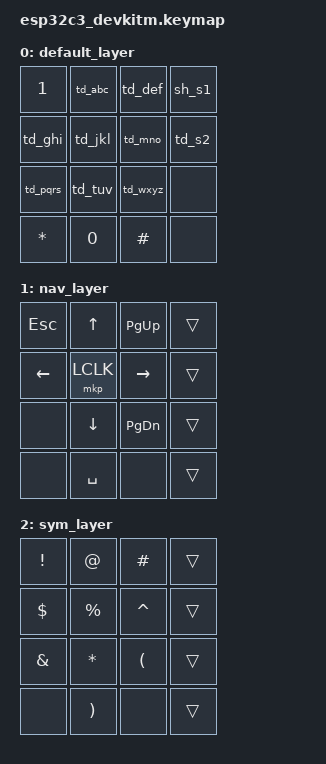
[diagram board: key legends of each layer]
#include <behaviors.dtsi>
#include <dt-bindings/zmk/keys.h>
#include <dt-bindings/zmk/bt.h>
#include <dt-bindings/zmk/mouse.h>

/ {
    // Definisi Matrix untuk ESP32-C3 SuperMini (Row: 0,1,2,3 | Col: 4,5,6,7)
    kscan0: kscan_0 {
        compatible = "zmk,kscan-gpio-matrix";
        diode-direction = "col2row";
        row-gpios = <&gpio0 0 (GPIO_ACTIVE_HIGH | GPIO_PULL_DOWN)>,
                    <&gpio0 1 (GPIO_ACTIVE_HIGH | GPIO_PULL_DOWN)>,
                    <&gpio0 2 (GPIO_ACTIVE_HIGH | GPIO_PULL_DOWN)>,
                    <&gpio0 3 (GPIO_ACTIVE_HIGH | GPIO_PULL_DOWN)>;
        col-gpios = <&gpio0 4 GPIO_ACTIVE_HIGH>,
                    <&gpio0 5 GPIO_ACTIVE_HIGH>,
                    <&gpio0 6 GPIO_ACTIVE_HIGH>,
                    <&gpio0 7 GPIO_ACTIVE_HIGH>;
    };

    macros {
        mc_caps_bspc: mc_caps_bspc {
            compatible = "zmk,behavior-macro";
            #binding-cells = <0>;
            bindings = <&kp CAPS &kp BSPC>;
        };
    };

    behaviors {
        // T9 Multitap Behaviors
        td_abc: td_abc { compatible = "zmk,behavior-tap-dance"; #binding-cells = <0>; tapping-term-ms = <400>; bindings = <&kp A>, <&kp B>, <&kp C>, <&kp N2>; };
        td_def: td_def { compatible = "zmk,behavior-tap-dance"; #binding-cells = <0>; tapping-term-ms = <400>; bindings = <&kp D>, <&kp E>, <&kp F>, <&kp N3>; };
        td_ghi: td_ghi { compatible = "zmk,behavior-tap-dance"; #binding-cells = <0>; tapping-term-ms = <400>; bindings = <&kp G>, <&kp H>, <&kp I>, <&kp N4>; };
        td_jkl: td_jkl { compatible = "zmk,behavior-tap-dance"; #binding-cells = <0>; tapping-term-ms = <400>; bindings = <&kp J>, <&kp K>, <&kp L>, <&kp N5>; };
        td_mno: td_mno { compatible = "zmk,behavior-tap-dance"; #binding-cells = <0>; tapping-term-ms = <400>; bindings = <&kp M>, <&kp N>, <&kp O>, <&kp N6>; };
        td_pqrs: td_pqrs { compatible = "zmk,behavior-tap-dance"; #binding-cells = <0>; tapping-term-ms = <400>; bindings = <&kp P>, <&kp Q>, <&kp R>, <&kp S>, <&kp N7>; };
        td_tuv: td_tuv { compatible = "zmk,behavior-tap-dance"; #binding-cells = <0>; tapping-term-ms = <400>; bindings = <&kp T>, <&kp U>, <&kp V>, <&kp N8>; };
        td_wxyz: td_wxyz { compatible = "zmk,behavior-tap-dance"; #binding-cells = <0>; tapping-term-ms = <400>; bindings = <&kp W>, <&kp X>, <&kp Y>, <&kp Z>, <&kp N9>; };

        // S1 Shoulder: 1x Backspace, 2x Caps+BS, Hold: Repeat BS
        td_s1: td_s1 { compatible = "zmk,behavior-tap-dance"; #binding-cells = <0>; tapping-term-ms = <250>; bindings = <&kp BSPC>, <&mc_caps_bspc>; };
        sh_s1: sh_s1 {
            compatible = "zmk,behavior-hold-tap";
            #binding-cells = <0>;
            flavor = "hold-preferred";
            tapping-term-ms = <200>;
            bindings = <&kp BSPC>, <&td_s1>;
        };

        // S2 Shoulder: Layer Cycle (0 -> 1 -> 2)
        td_s2: td_s2 { compatible = "zmk,behavior-tap-dance"; #binding-cells = <0>; tapping-term-ms = <350>; bindings = <&to 0>, <&to 1>, <&to 2>; };
    };

    keymap {
        compatible = "zmk,keymap";

        // L0: Nokia T9 Default
        default_layer {
            bindings = <
                &kp N1     &td_abc    &td_def    &sh_s1
                &td_ghi    &td_jkl    &td_mno    &td_s2
                &td_pqrs   &td_tuv    &td_wxyz   &none
                &kp STAR   &kp N0     &kp HASH   &none
            >;
        };

        // L1: Nav & Mouse
        nav_layer {
            bindings = <
                &kp ESC    &kp UP     &kp PG_UP  &trans
                &kp LEFT   &mkp LCLK  &kp RIGHT  &trans
                &none      &kp DOWN   &kp PG_DN  &trans
                &none      &kp SPACE  &none      &trans
            >;
        };

        // L2: Symbols
        sym_layer {
            bindings = <
                &kp EXCL   &kp AT     &kp HASH   &trans
                &kp DLLR   &kp PRCNT  &kp CARET  &trans
                &kp AMPS   &kp ASTRK  &kp LPAR   &trans
                &none      &kp RPAR   &none      &trans
            >;
        };
    };
};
